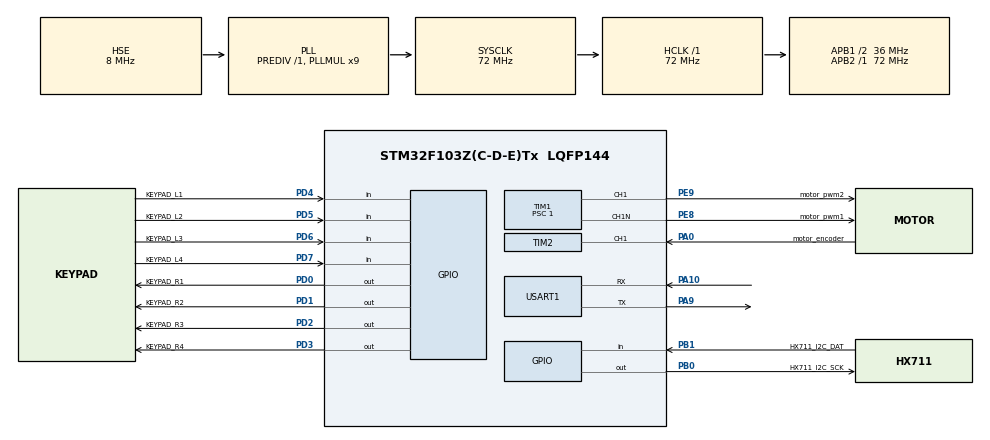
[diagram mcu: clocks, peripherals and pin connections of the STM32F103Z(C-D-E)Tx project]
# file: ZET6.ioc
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Mcu.Family=STM32F1
Mcu.Name=STM32F103Z(C-D-E)Tx
Mcu.Package=LQFP144
NVIC.PriorityGroup=NVIC_PRIORITYGROUP_4
NVIC.TIM2_IRQn=true\:0\:0\:false\:false\:true\:true
OSC_IN.Mode=HSE-External-Oscillator
OSC_IN.Signal=RCC_OSC_IN
OSC_OUT.Mode=HSE-External-Oscillator
OSC_OUT.Signal=RCC_OSC_OUT
PA0-WKUP.GPIO_Label=motor_encoder
PA0-WKUP.GPIO_PuPd=GPIO_PULLUP
PA0-WKUP.Signal=S_TIM2_CH1_ETR
PA10.Mode=Asynchronous
PA10.Signal=USART1_RX
PA9.Mode=Asynchronous
PA9.Signal=USART1_TX
PB0.GPIO_Label=HX711_I2C_SCK 
PB0.Signal=GPIO_Output
PB1.GPIO_Label=HX711_I2C_DAT 
PB1.Signal=GPIO_Input
PD0.GPIO_Label=KEYPAD_R1
PD0.GPIO_PuPd=GPIO_PULLDOWN
PD0.Signal=GPIO_Output
PD1.GPIO_Label=KEYPAD_R2
PD1.GPIO_PuPd=GPIO_PULLDOWN
PD1.Signal=GPIO_Output
PD2.GPIO_Label=KEYPAD_R3
PD2.GPIO_PuPd=GPIO_PULLDOWN
PD2.Signal=GPIO_Output
PD3.GPIO_Label=KEYPAD_R4
PD3.GPIO_PuPd=GPIO_PULLDOWN
PD3.Signal=GPIO_Output
PD4.GPIO_Label=KEYPAD_L1
PD4.GPIO_PuPd=GPIO_PULLDOWN
PD4.Signal=GPIO_Input
PD5.GPIO_Label=KEYPAD_L2
PD5.GPIO_PuPd=GPIO_PULLDOWN
PD5.Signal=GPIO_Input
PD6.GPIO_Label=KEYPAD_L3
PD6.GPIO_PuPd=GPIO_PULLDOWN
PD6.Signal=GPIO_Input
PD7.GPIO_Label=KEYPAD_L4
PD7.GPIO_PuPd=GPIO_PULLDOWN
PD7.Signal=GPIO_Input
PE8.GPIO_Label=motor_pwm1
PE8.Mode=PWM Generation1 CH1 CH1N
PE8.Signal=TIM1_CH1N
PE9.GPIO_Label=motor_pwm2
PE9.GPIO_Speed=GPIO_SPEED_FREQ_LOW
PE9.Signal=S_TIM1_CH1
ProjectManager.HeapSize=0x200
ProjectManager.StackSize=0x400
ProjectManager.TargetToolchain=MDK-ARM V5
RCC.AHBFreq_Value=72000000
RCC.APB1CLKDivider=RCC_HCLK_DIV2
RCC.APB1Freq_Value=36000000
RCC.APB1TimFreq_Value=72000000
RCC.APB2Freq_Value=72000000
RCC.APB2TimFreq_Value=72000000
RCC.HCLKFreq_Value=72000000
RCC.PLLMUL=RCC_PLL_MUL9
RCC.PLLSourceVirtual=RCC_PLLSOURCE_HSE
RCC.SYSCLKFreq_VALUE=72000000
RCC.SYSCLKSource=RCC_SYSCLKSOURCE_PLLCLK
RCC.USBFreq_Value=72000000
SH.S_TIM1_CH1.0=TIM1_CH1,PWM Generation1 CH1 CH1N
SH.S_TIM2_CH1_ETR.0=TIM2_CH1,Input_Capture1_from_TI1
TIM1.Channel-PWM\ Generation1\ CH1\ CH1N=TIM_CHANNEL_1
TIM1.Period=900
TIM1.Prescaler=1
TIM2.Channel-Input_Capture1_from_TI1=TIM_CHANNEL_1
TIM2.Period=0xFFFF
TIM2.Prescaler=71
USART1.VirtualMode=VM_ASYNC
VP_SYS_VS_ND.Mode=No_Debug
VP_TIM1_VS_ClockSourceINT.Mode=Internal
VP_TIM2_VS_ClockSourceINT.Mode=Internal
board=custom

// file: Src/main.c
/**
  ******************************************************************************
  * @file           : main.c
  * @brief          : Main program body
  ******************************************************************************
  ** This notice applies to any and all portions of this file
  * that are not between comment pairs USER CODE BEGIN and
  * USER CODE END. Other portions of this file, whether
  * inserted by the user or by software development tools
  * are owned by their respective copyright owners.
  *
  * COPYRIGHT(c) 2019 STMicroelectronics
  *
  * Redistribution and use in source and binary forms, with or without modification,
  * are permitted provided that the following conditions are met:
  *   1. Redistributions of source code must retain the above copyright notice,
  *      this list of conditions and the following disclaimer.
  *   2. Redistributions in binary form must reproduce the above copyright notice,
  *      this list of conditions and the following disclaimer in the documentation
  *      and/or other materials provided with the distribution.
  *   3. Neither the name of STMicroelectronics nor the names of its contributors
  *      may be used to endorse or promote products derived from this software
  *      without specific prior written permission.
  *
  * THIS SOFTWARE IS PROVIDED BY THE COPYRIGHT HOLDERS AND CONTRIBUTORS "AS IS"
  * AND ANY EXPRESS OR IMPLIED WARRANTIES, INCLUDING, BUT NOT LIMITED TO, THE
  * IMPLIED WARRANTIES OF MERCHANTABILITY AND FITNESS FOR A PARTICULAR PURPOSE ARE
  * DISCLAIMED. IN NO EVENT SHALL THE COPYRIGHT HOLDER OR CONTRIBUTORS BE LIABLE
  * FOR ANY DIRECT, INDIRECT, INCIDENTAL, SPECIAL, EXEMPLARY, OR CONSEQUENTIAL
  * DAMAGES (INCLUDING, BUT NOT LIMITED TO, PROCUREMENT OF SUBSTITUTE GOODS OR
  * SERVICES; LOSS OF USE, DATA, OR PROFITS; OR BUSINESS INTERRUPTION) HOWEVER
  * CAUSED AND ON ANY THEORY OF LIABILITY, WHETHER IN CONTRACT, STRICT LIABILITY,
  * OR TORT (INCLUDING NEGLIGENCE OR OTHERWISE) ARISING IN ANY WAY OUT OF THE USE
  * OF THIS SOFTWARE, EVEN IF ADVISED OF THE POSSIBILITY OF SUCH DAMAGE.
  *
  ******************************************************************************
  */
#include "main.h"
#include "stm32f1xx_hal.h"
#include "tim.h"
#include "usart.h"
#include "gpio.h"

/* USER CODE BEGIN Includes */
#include "motor.h"
#include "pid.h"
#include "hx711.h"
#include "oled.h"
#include "keypad.h"

#include "stdio.h"
#ifdef __GNUC__
#define PUTCHAR_PROTOTYPE int __io_putchar(int ch)
#else
#define PUTCHAR_PROTOTYPE int fputc(int ch, FILE *f)
#endif /* __GNUC__ */
PUTCHAR_PROTOTYPE
{
	HAL_UART_Transmit(&huart1 , (uint8_t *)&ch, 1, 0xFFFF);
	return ch;
}

/* USER CODE END Includes */

/* USER CODE BEGIN PV */
/* Private variables ---------------------------------------------------------*/

/* USER CODE END PV */

void SystemClock_Config(void);

/* USER CODE BEGIN PFP */
/* Private function prototypes -----------------------------------------------*/

__IO uint16_t time_count=0;        // 时间计数，每1ms增加一(与滴定时器频率有关)
__IO uint32_t CaptureNumber=0;     // 输入捕获数
__IO uint8_t  start_flag=0;
__IO double encoder_speed=0;
__IO uint16_t PWM_Duty;
__IO uint32_t count;
__IO int para;
__IO double cal;
float Weight = 0;
/* USER CODE END PFP */

int main(void)
{

  /* MCU Configuration----------------------------------------------------------*/

  /* Reset of all peripherals, Initializes the Flash interface and the Systick. */
  HAL_Init();

  /* Configure the system clock */
  SystemClock_Config();

  /* Initialize all configured peripherals */
  MX_GPIO_Init();
  MX_TIM1_Init();
  MX_TIM2_Init();
  MX_USART1_UART_Init();
  /* USER CODE BEGIN 2 */
//	OLED_Init();			//初始化OLED
//	OLED_Clear();

	HAL_TIM_Base_Start(&htim1);
	HAL_TIM_Base_Start(&htim2);
	HAL_TIM_IC_Start_IT(&htim2,TIM_CHANNEL_1);
	PID_Init(&Motor_SpeedPID,PID_Motor_KP,PID_Motor_KI,PID_Motor_KD);

  /* USER CODE END 2 */

  /* Infinite loop */
  /* USER CODE BEGIN WHILE */

	PID_SetPoint(&Motor_SpeedPID, 50);
//	Get_Maopi();

	printf("INIT__PASS……  \r\n");
	HAL_Delay(1000);

////////////开机程序///////////////////
	while(1)
	{
		//////////键盘部分/////////////////
		u16 keyvalue;
		keyvalue=KEYPAD_Scan(KEY_PASG_PORT);
		HAL_Delay(50);
		printf("SLLEEP…… …………值为 …………%d \r\n",keyvalue);
		if(keyvalue==10)break;

//
//		//////////拉力传感器部分/////////
//		Weight = Get_Weight();
//		Weight = (float)Weight/1000.0f;
//		printf("拉力传感器回传值为:	%0.3f kg\r\n\r\n",Weight);
//		printf("请开机并且输入目标拉力值！\r\n\r\n");

//		HAL_Delay(100);
	}

	 ////////启动电机转动///////////
		Motor_Init();

///////////////////////////////////////

	start_flag=1;
  while (1)
  {
		u16 keyvalue;
		keyvalue=KEYPAD_Scan(KEY_PASG_PORT);
		if(keyvalue==11)break;

  /* USER CODE END WHILE */

  /* USER CODE BEGIN 3 */

  }

////////////关机程序///////////////////
	while(1)
	{
		printf("SLLEEP……  \r\n");
		HAL_Delay(2000);
	}
//////////////////////////////////////

  /* USER CODE END 3 */

}

void SystemClock_Config(void)
{

  RCC_OscInitTypeDef RCC_OscInitStruct;
  RCC_ClkInitTypeDef RCC_ClkInitStruct;

    /**Initializes the CPU, AHB and APB busses clocks
    */
  RCC_OscInitStruct.OscillatorType = RCC_OSCILLATORTYPE_HSE;
  RCC_OscInitStruct.HSEState = RCC_HSE_ON;
  RCC_OscInitStruct.HSEPredivValue = RCC_HSE_PREDIV_DIV1;
  RCC_OscInitStruct.HSIState = RCC_HSI_ON;
  RCC_OscInitStruct.PLL.PLLState = RCC_PLL_ON;
  RCC_OscInitStruct.PLL.PLLSource = RCC_PLLSOURCE_HSE;
  RCC_OscInitStruct.PLL.PLLMUL = RCC_PLL_MUL9;
  if (HAL_RCC_OscConfig(&RCC_OscInitStruct) != HAL_OK)
  {
    _Error_Handler(__FILE__, __LINE__);
  }

    /**Initializes the CPU, AHB and APB busses clocks
    */
  RCC_ClkInitStruct.ClockType = RCC_CLOCKTYPE_HCLK|RCC_CLOCKTYPE_SYSCLK
                              |RCC_CLOCKTYPE_PCLK1|RCC_CLOCKTYPE_PCLK2;
  RCC_ClkInitStruct.SYSCLKSource = RCC_SYSCLKSOURCE_PLLCLK;
  RCC_ClkInitStruct.AHBCLKDivider = RCC_SYSCLK_DIV1;
  RCC_ClkInitStruct.APB1CLKDivider = RCC_HCLK_DIV2;
  RCC_ClkInitStruct.APB2CLKDivider = RCC_HCLK_DIV1;

  if (HAL_RCC_ClockConfig(&RCC_ClkInitStruct, FLASH_LATENCY_2) != HAL_OK)
  {
    _Error_Handler(__FILE__, __LINE__);
  }

    /**Configure the Systick interrupt time
    */
  HAL_SYSTICK_Config(HAL_RCC_GetHCLKFreq()/1000);

    /**Configure the Systick
    */
  HAL_SYSTICK_CLKSourceConfig(SYSTICK_CLKSOURCE_HCLK);

  /* SysTick_IRQn interrupt configuration */
  HAL_NVIC_SetPriority(SysTick_IRQn, 0, 0);
}

/* USER CODE BEGIN 4 */

/**
  * 函数功能: 系统滴答定时器中断回调函数
  * 输入参数: 无
  * 返 回 值: 无
  * 说    明: 每发生一次滴答定时器中断进入该回调函数一次
  */
void HAL_SYSTICK_Callback(void)
{
  if(start_flag) 					// 等待脉冲输出后才开始计时
  {
    time_count++;         // 每1ms自动增一
    if(time_count==200)    																													//200ms
    {
				/* 拉力传感部分 */
			Weight = Get_Weight();
			Weight = (float)Weight/1000.0f;

			/* 电机部分 */
      count=CaptureNumber; 			 /* 得到编码器计数值，数值越大说明速度越大 */
      CaptureNumber=0;    			// 清零，从零开始计数
      para=Inc_PID_Calc(&Motor_SpeedPID,count);      /* 计数得到增量式PID的增量数值 */
      Motor_Limt();
			Set_Pwm(PWM_Duty);

			printf("\n压力传感为： %f   差值电机速度->	%d	目标速度->	%d	电机速度->	%d	pid计算值->  %d   新的占空比->	%d\r\n\r\n",Weight,count-Motor_SpeedPID.SetPoint,Motor_SpeedPID.SetPoint,count,para,PWM_Duty);
			time_count=0;

    }
  }
}

void HAL_TIM_IC_CaptureCallback(TIM_HandleTypeDef *htim)
{
	if(htim == &(htim2))
	{
		CaptureNumber++;
	}

}

/* USER CODE END 4 */

void _Error_Handler(char *file, int line)
{
  while(1)
  {
  }
}

/************************ (C) COPYRIGHT STMicroelectronics *****END OF FILE****/
